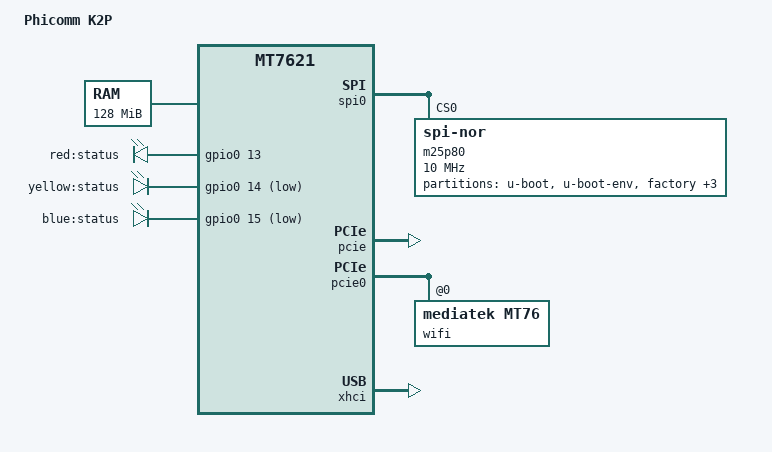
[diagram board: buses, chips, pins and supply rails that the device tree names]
/dts-v1/;

#include "mt7621.dtsi"

#include <dt-bindings/gpio/gpio.h>
#include <dt-bindings/input/input.h>

/ {
	compatible = "phicomm,k2p", "ralink,mt7621-soc";
	model = "Phicomm K2P";

	memory@0 {
		device_type = "memory";
		reg = <0x0 0x8000000>;
	};

	leds {
		compatible = "gpio-leds";

		stat_r {
			label = "red:status";
			gpios = <&gpio0 13 GPIO_ACTIVE_HIGH>;
		};

		stat_y {
			label = "yellow:status";
			gpios = <&gpio0 14 GPIO_ACTIVE_LOW>;
		};

		led_blue: stat_b {
			label = "blue:status";
			gpios = <&gpio0 15 GPIO_ACTIVE_LOW>;
		};
	};
};

&spi0 {
	status = "okay";
	m25p80@0 {
		compatible = "jedec,spi-nor";
		reg = <0>;
		spi-max-frequency = <10000000>;

		partitions {
			compatible = "fixed-partitions";
			#address-cells = <1>;
			#size-cells = <1>;

			partition@0 {
				label = "u-boot";
				reg = <0x0 0x30000>;
			};

			partition@30000 {
				label = "u-boot-env";
				reg = <0x30000 0x4000>;
			};

			factory: partition@40000 {
				label = "factory";
				reg = <0x40000 0x10000>;
			};
			partition@50000 {
				compatible = "denx,uimage";
				label = "linux";
				reg = <0x50000 0xfb0000>;
			};

			partition@ff00000 {
				label = "nvram";
				reg = <0xff0000 0x10000>;
			};
			partition@0000000 {
				label = "fullflash";
				reg = <0x000000 0x1000000>;
			};
		};
	};
};


&pcie {
	status = "okay";
};

&pcie0 {
	wifi@0,0 {
		compatible = "mediatek,mt76";
		reg = <0x0000 0 0 0 0>;
		mediatek,mtd-eeprom = <&factory 0x0>;
		mtd-mac-address = <&factory 0x4>;
	};
};

&pinctrl {
	state_default: pinctrl0 {
		gpio {
			ralink,group = "i2c", "uart2", "uart3", "rgmii2", "sdhci";
			ralink,function = "gpio";
		};
	};
};

&xhci {
	status = "okay";
};

